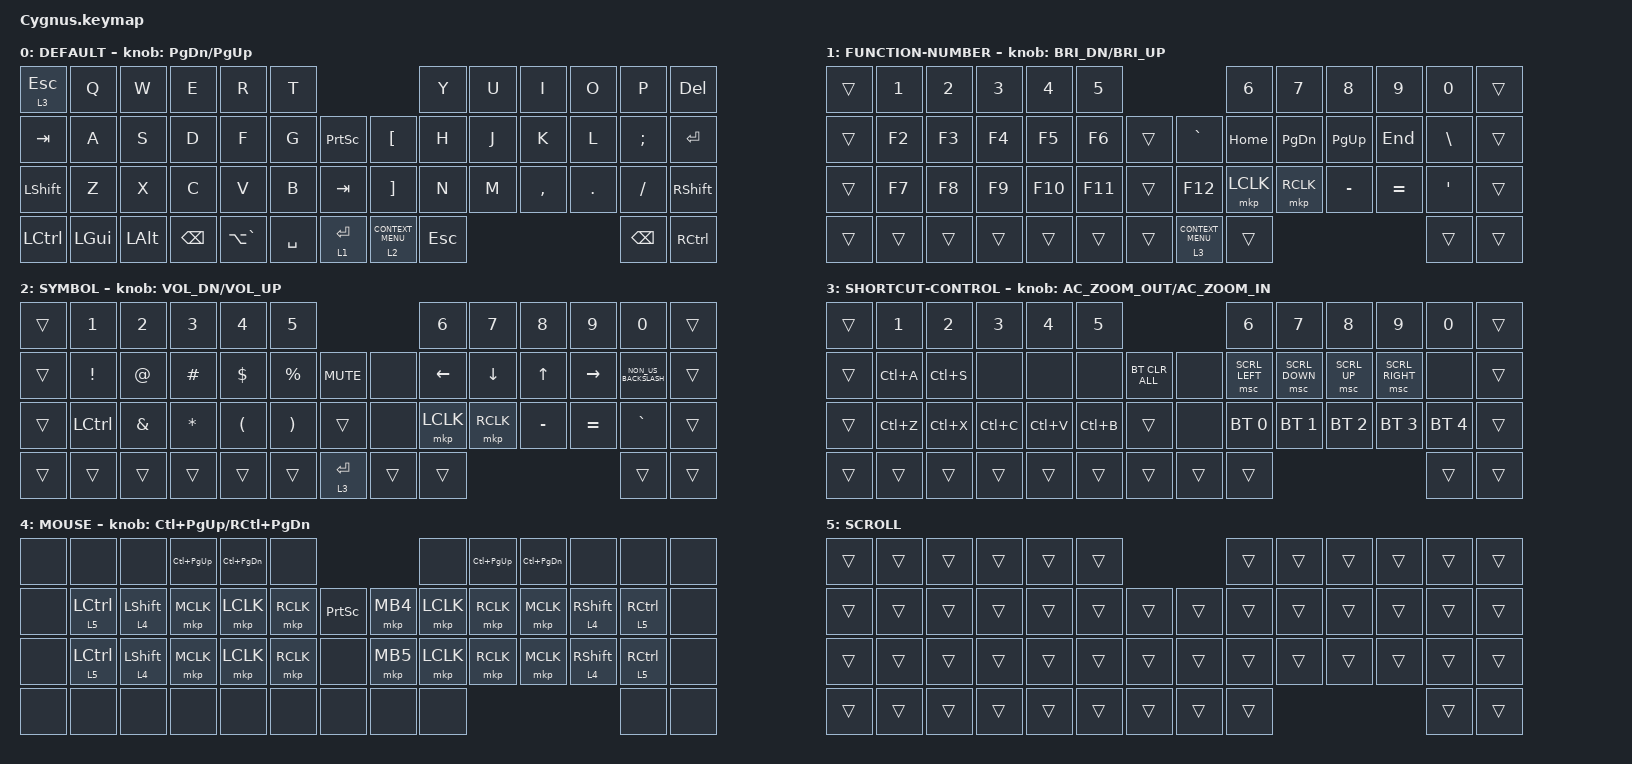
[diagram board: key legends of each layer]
#define ZMK_POINTING_DEFAULT_SCRL_VAL 120    // default: 10

#include <behaviors.dtsi>
#include <dt-bindings/zmk/bt.h>
#include <dt-bindings/zmk/keys.h>
#include <dt-bindings/zmk/pointing.h>

#define MOUSE 4
#define SCROLL 5
#define NUM 6

&mt {
    flavor = "balanced";
    quick-tap-ms = <0>;
};

/ {
    combos {
        compatible = "zmk,combos";

        double_quotation {
            bindings = <&kp DOUBLE_QUOTES>;
            key-positions = <20 21>;
        };
    };

    macros {
        to_layer_0: to_layer_0 {
            compatible = "zmk,behavior-macro-one-param";
            #binding-cells = <1>;
            bindings = <&to 0 &macro_param_1to1 &kp MACRO_PLACEHOLDER>;
            label = "TO_LAYER_0";
        };
    };

    behaviors {
        lt_to_layer_0: lt_to_layer_0 {
            compatible = "zmk,behavior-hold-tap";
            label = "LAYER_TAP_TO_0";
            bindings = <&mo>, <&to_layer_0>;

            #binding-cells = <2>;
            tapping-term-ms = <200>;
        };

        ROTATE: ROTATE {
            compatible = "zmk,behavior-sensor-rotate-var";
            label = "ROTATE";
            #sensor-binding-cells = <2>;
            bindings = <&msc>, <&msc>;

            tap-ms = <20>;
        };
    };

    keymap {
        compatible = "zmk,keymap";

        DEFAULT {
            bindings = <
&lt 3 ESC  &kp Q     &kp W     &kp E          &kp R          &kp T                                           &kp Y       &kp U  &kp I      &kp O    &kp P          &kp DELETE
&kp TAB    &kp A     &kp S     &kp D          &kp F          &kp G      &kp PSCRN      &kp LEFT_BRACKET      &kp H       &kp J  &kp K      &kp L    &kp SEMICOLON  &kp ENTER
&kp LSHFT  &kp Z     &kp X     &kp C          &kp V          &kp B      &kp TAB        &kp RIGHT_BRACKET     &kp N       &kp M  &kp COMMA  &kp DOT  &kp FSLH       &kp RSHFT
&kp LCTRL  &kp LGUI  &kp LALT  &kp BACKSPACE  &kp LA(GRAVE)  &kp SPACE  &lt 1 ENTER    &lt 2 K_CONTEXT_MENU  &kp ESCAPE                             &kp BACKSPACE  &kp RCTRL
            >;

            sensor-bindings = <&inc_dec_kp PAGE_DOWN PAGE_UP>;
        };

        FUNCTION-NUMBER {
            bindings = <
&trans  &kp NUMBER_1  &kp NUMBER_2  &kp NUMBER_3  &kp NUMBER_4  &kp NUMBER_5                                  &kp NUMBER_6  &kp NUMBER_7   &kp NUMBER_8  &kp NUMBER_9  &kp NUMBER_0   &trans
&trans  &kp F2        &kp F3        &kp F4        &kp F5        &kp F6        &trans    &kp GRAVE             &kp HOME      &kp PAGE_DOWN  &kp PAGE_UP   &kp END       &kp BACKSLASH  &trans
&trans  &kp F7        &kp F8        &kp F9        &kp F10       &kp F11       &trans    &kp F12               &mkp LCLK     &mkp RCLK      &kp MINUS     &kp EQUAL     &kp SQT        &trans
&trans  &trans        &trans        &trans        &trans        &trans        &trans    &lt 3 K_CONTEXT_MENU  &trans                                                   &trans         &trans
            >;

            sensor-bindings = <&inc_dec_kp C_BRI_DN C_BRI_UP>;
        };

        SYMBOL {
            bindings = <
&trans  &kp NUMBER_1     &kp NUMBER_2   &kp NUMBER_3  &kp NUMBER_4          &kp NUMBER_5                                  &kp NUMBER_6  &kp NUMBER_7  &kp NUMBER_8  &kp NUMBER_9  &kp NUMBER_0          &trans
&trans  &kp EXCLAMATION  &kp AT_SIGN    &kp POUND     &kp DOLLAR            &kp PERCENT            &kp K_MUTE     &none   &kp LEFT      &kp DOWN      &kp UP_ARROW  &kp RIGHT     &kp NON_US_BACKSLASH  &trans
&trans  &kp LCTRL        &kp AMPERSAND  &kp ASTERISK  &kp LEFT_PARENTHESIS  &kp RIGHT_PARENTHESIS  &trans         &none   &mkp LCLK     &mkp RCLK     &kp MINUS     &kp EQUAL     &kp GRAVE             &trans
&trans  &trans           &trans         &trans        &trans                &trans                 &lt 3 ENTER    &trans  &trans                                                  &trans                &trans
            >;

            sensor-bindings = <&inc_dec_kp C_VOL_DN C_VOLUME_UP>;
        };

        SHORTCUT-CONTROL {
            bindings = <
&trans  &kp NUMBER_1  &kp NUMBER_2  &kp NUMBER_3  &kp NUMBER_4  &kp NUMBER_5                            &kp NUMBER_6    &kp NUMBER_7    &kp NUMBER_8  &kp NUMBER_9     &kp NUMBER_0  &trans
&trans  &kp LC(A)     &kp LC(S)     &none         &none         &none         &bt BT_CLR_ALL    &none   &msc SCRL_LEFT  &msc SCRL_DOWN  &msc SCRL_UP  &msc SCRL_RIGHT  &none         &trans
&trans  &kp LC(Z)     &kp LC(X)     &kp LC(C)     &kp LC(V)     &kp LC(B)     &trans            &none   &bt BT_SEL 0    &bt BT_SEL 1    &bt BT_SEL 2  &bt BT_SEL 3     &bt BT_SEL 4  &trans
&trans  &trans        &trans        &trans        &trans        &trans        &trans            &trans  &trans                                                         &trans        &trans
            >;

            sensor-bindings = <&inc_dec_kp C_AC_ZOOM_OUT C_AC_ZOOM_IN>;
        };

        MOUSE {
            bindings = <
&none  &none        &none             &kp LC(PAGE_UP)  &kp LC(PAGE_DOWN)  &none                                   &none      &kp LC(PAGE_UP)  &kp LC(PAGE_DOWN)  &none              &none        &none
&none  &lt 5 LCTRL  &lt 4 LEFT_SHIFT  &mkp MCLK        &mkp LCLK          &mkp RCLK  &kp PRINTSCREEN    &mkp MB4  &mkp LCLK  &mkp RCLK        &mkp MCLK          &lt 4 RIGHT_SHIFT  &lt 5 RCTRL  &none
&none  &lt 5 LCTRL  &lt 4 LSHFT       &mkp MCLK        &mkp LCLK          &mkp RCLK  &none              &mkp MB5  &mkp LCLK  &mkp RCLK        &mkp MCLK          &lt 4 RIGHT_SHIFT  &lt 5 RCTRL  &none
&none  &none        &none             &none            &none              &none      &none              &none     &none                                                             &none        &none
            >;

            sensor-bindings = <&inc_dec_kp LC(PAGE_UP) RC(PAGE_DOWN)>;
        };

        SCROLL {
            bindings = <
&trans  &trans  &trans  &trans  &trans  &trans                    &trans  &trans  &trans  &trans  &trans  &trans
&trans  &trans  &trans  &trans  &trans  &trans  &trans    &trans  &trans  &trans  &trans  &trans  &trans  &trans
&trans  &trans  &trans  &trans  &trans  &trans  &trans    &trans  &trans  &trans  &trans  &trans  &trans  &trans
&trans  &trans  &trans  &trans  &trans  &trans  &trans    &trans  &trans                          &trans  &trans
            >;
        };
    };
};
